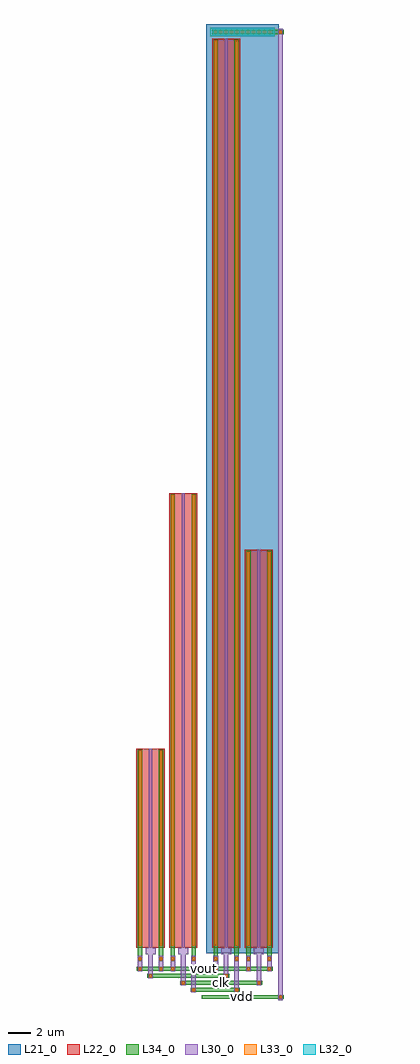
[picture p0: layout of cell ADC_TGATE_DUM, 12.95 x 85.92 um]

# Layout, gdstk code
import gdstk
lib = gdstk.Library(unit=1e-6, precision=1e-09)
def R(c, l, rs):  # rectangles x0, y0, x1, y1
    for r in rs: c.add(gdstk.rectangle(r[:2], r[2:], *l))
def A(c, l, x, y, w, h, nx, ny, dx, dy):  # array of equal rectangles
    R(c, l, [(x+i*dx, y+j*dy, x+i*dx+w, y+j*dy+h) for i in range(nx) for j in range(ny)])
L21_0 = (21, 0)
L22_0 = (22, 0)
L30_0 = (30, 0)
L32_0 = (32, 0)
L33_0 = (33, 0)
L34_0 = (34, 0)

adc_tgate_dum = lib.new_cell('ADC_TGATE_DUM')
R(adc_tgate_dum, L21_0, [(6.16,-0.5,12.52,81.3)])
R(adc_tgate_dum, L22_0, [(0,0,2.48,17.5), (2.88,0,5.36,40), (6.66,0,9.14,80), (9.54,0,12.02,35), (6.66,80.4,12.02,80.8)])
R(adc_tgate_dum, L30_0, [(12.47,-4.62,12.87,80.9), (4.84,-3.95,5.24,-1.2), (8.62,-3.95,9.02,-1.2), (3.92,-3.33,4.32,-1.2), (10.58,-3.33,10.98,-1.2), (1.04,-2.71,1.44,-1.2), (7.7,-2.71,8.1,-1.2), (0.12,-2.09,0.52,-1.2), (1.96,-2.09,2.36,-1.2), (3,-2.09,3.4,-1.2), (6.78,-2.09,7.18,-1.2), (9.66,-2.09,10.06,-1.2), (11.5,-2.09,11.9,-1.2), (0.12,-1.2,0.52,-0.74), (1.04,-1.2,1.44,-0.6), (1.96,-1.2,2.36,-0.74), (3,-1.2,3.4,-0.74), (3.92,-1.2,4.32,-0.6), (4.84,-1.2,5.24,-0.74), (6.78,-1.2,7.18,-0.74), (7.7,-1.2,8.1,-0.6), (8.62,-1.2,9.02,-0.74), (9.66,-1.2,10.06,-0.74), (10.58,-1.2,10.98,-0.6), (11.5,-1.2,11.9,-0.74), (0.8,-0.6,1.68,0), (3.68,-0.6,4.56,0), (7.46,-0.6,8.34,0), (10.34,-0.6,11.22,0), (1.1,0,1.38,17.5), (3.98,0,4.26,40), (7.76,0,8.04,80), (10.64,0,10.92,35)])
R(adc_tgate_dum, L32_0, [(6.5,80.24,12.18,80.96)])
A(adc_tgate_dum, L33_0, 6.83, 80.49, 0.22, 0.22, 11, 1, 0.48, 0)
R(adc_tgate_dum, L33_0, [(12.55,-4.47,12.79,-4.23), (4.92,-3.85,5.16,-3.61), (8.7,-3.85,8.94,-3.61), (4,-3.23,4.24,-2.99), (10.66,-3.23,10.9,-2.99), (1.12,-2.61,1.36,-2.37), (7.78,-2.61,8.02,-2.37), (0.2,-1.99,0.44,-1.75), (2.04,-1.99,2.28,-1.75), (3.08,-1.99,3.32,-1.75), (6.86,-1.99,7.1,-1.75), (9.74,-1.99,9.98,-1.75), (11.58,-1.99,11.82,-1.75), (0.2,-1.1,0.44,-0.86), (2.04,-1.1,2.28,-0.86), (3.08,-1.1,3.32,-0.86), (4.92,-1.1,5.16,-0.86), (6.86,-1.1,7.1,-0.86), (8.7,-1.1,8.94,-0.86), (9.74,-1.1,9.98,-0.86), (11.58,-1.1,11.82,-0.86), (0.19,0.15,0.45,17.35), (2.03,0.15,2.29,17.35), (3.07,0.15,3.33,39.85), (4.91,0.15,5.17,39.85), (6.85,0.15,7.11,79.85), (8.69,0.15,8.95,79.85), (9.73,0.15,9.99,34.85), (11.57,0.15,11.83,34.85), (12.55,80.48,12.79,80.72)])
R(adc_tgate_dum, L34_0, [(5.73,-4.52,12.95,-4.18), (4.76,-3.9,9.1,-3.56), (3.84,-3.28,11.06,-2.94), (0.96,-2.66,8.18,-2.32), (0.04,-2.04,11.98,-1.7), (0.13,-1.2,0.51,0.09), (1.97,-1.2,2.35,0.09), (3.01,-1.2,3.39,0.09), (4.85,-1.2,5.23,0.09), (6.79,-1.2,7.17,0.09), (8.63,-1.2,9.01,0.09), (9.67,-1.2,10.05,0.09), (11.51,-1.2,11.89,0.09), (0.13,0.09,0.51,17.41), (1.97,0.09,2.35,17.41), (3.01,0.09,3.39,39.91), (4.85,0.09,5.23,39.91), (6.79,0.09,7.17,79.91), (8.63,0.09,9.01,79.91), (9.67,0.09,10.05,34.91), (11.51,0.09,11.89,34.91), (6.66,80.4,12.02,80.8), (6.66,80.4,12.95,80.8)])
adc_tgate_dum.add(gdstk.Label('vout', (6.01,-1.87), layer=34, texttype=10))
adc_tgate_dum.add(gdstk.Label('clkb', (4.57,-2.49), layer=34, texttype=10))
adc_tgate_dum.add(gdstk.Label('clk', (7.45,-3.11), layer=34, texttype=10))
adc_tgate_dum.add(gdstk.Label('vin', (6.93,-3.73), layer=34, texttype=10))
adc_tgate_dum.add(gdstk.Label('vdd', (9.34,-4.35), layer=34, texttype=10))

lib.write_gds('ADC_TGATE_DUM.gds')
